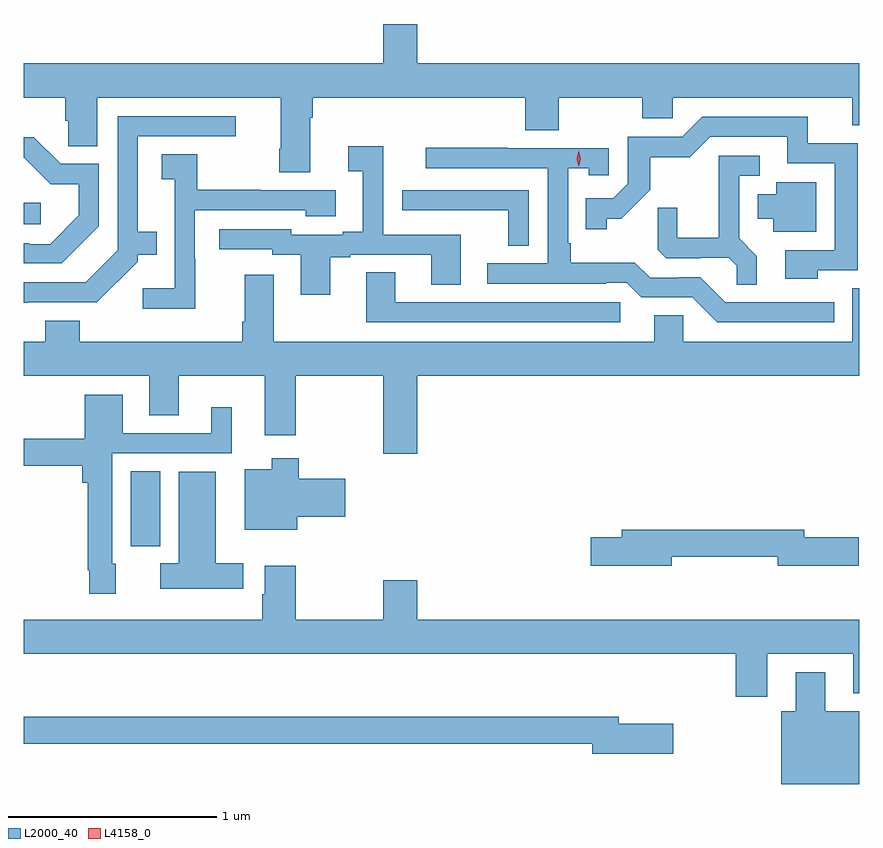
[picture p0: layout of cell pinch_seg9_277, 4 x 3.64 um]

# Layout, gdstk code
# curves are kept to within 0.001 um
import gdstk
lib = gdstk.Library(unit=1e-6, precision=1e-09)
def R(c, l, rs):  # rectangles x0, y0, x1, y1
    for r in rs: c.add(gdstk.rectangle(r[:2], r[2:], *l))
def P(c, l, *ps):  # polygons
    for p in ps: c.add(gdstk.Polygon(p, *l))
L2000_40 = (2000, 40)
L4158_0 = (4158, 0)

pinch_seg9_277 = lib.new_cell('pinch_seg9_277')
R(pinch_seg9_277, L2000_40, [(391.571,1187.611,391.714,1187.972), (391.06,1189.155,391.141,1189.258)])
P(pinch_seg9_277, L2000_40, [(392.431,1189.664),(392.444,1189.664),(392.444,1189.76),(393.461,1189.76),(393.461,1189.603),(393.621,1189.603),(393.621,1189.76),(394.021,1189.76),(394.021,1189.662),(394.167,1189.662),(394.167,1189.76),(395.027,1189.76),(395.027,1189.627),(395.06,1189.627),(395.06,1189.924),(392.944,1189.924),(392.944,1190.113),(392.78,1190.113),(392.78,1189.924),(391.06,1189.924),(391.06,1189.76),(391.259,1189.76),(391.259,1189.65),(391.273,1189.65),(391.273,1189.528),(391.411,1189.528),(391.411,1189.76),(392.291,1189.76),(392.291,1189.516),(392.284,1189.516),(392.284,1189.404),(392.431,1189.404)],
  [(391.079,1188.78),(391.41,1188.78),(391.605,1188.975),(391.605,1189.007),(391.697,1189.007),(391.697,1189.117),(391.606,1189.117),(391.606,1189.575),(392.074,1189.575),(392.074,1189.671),(391.509,1189.671),(391.509,1189.029),(391.356,1188.876),(391.06,1188.876),(391.06,1188.779)],
  [(394.863,1188.933),(395.053,1188.933),(395.053,1189.542),(394.814,1189.542),(394.814,1189.668),(394.308,1189.668),(394.212,1189.572),(393.951,1189.572),(393.951,1189.347),(393.882,1189.278),(393.751,1189.278),(393.751,1189.131),(393.852,1189.131),(393.852,1189.181),(393.922,1189.181),(394.06,1189.318),(394.06,1189.474),(394.249,1189.474),(394.347,1189.572),(394.715,1189.572),(394.715,1189.446),(394.944,1189.446),(394.944,1189.029),(394.707,1189.029),(394.707,1188.893),(394.863,1188.893)],
  [(391.419,1189.145),(391.419,1189.443),(391.236,1189.443),(391.108,1189.571),(391.06,1189.571),(391.06,1189.473),(391.062,1189.473),(391.189,1189.346),(391.322,1189.346),(391.322,1189.196),(391.185,1189.059),(391.085,1189.059),(391.085,1189.062),(391.06,1189.062),(391.06,1188.966),(391.24,1188.966)],
  [(392.527,1188.996),(392.623,1188.996),(392.623,1189.008),(393.011,1189.008),(393.011,1188.865),(393.151,1188.865),(393.151,1189.104),(392.781,1189.104),(392.781,1189.528),(392.613,1189.528),(392.613,1189.408),(392.684,1189.408),(392.684,1189.117),(392.588,1189.117),(392.588,1189.104),(392.34,1189.104),(392.34,1189.131),(391.995,1189.131),(391.995,1189.035),(392.25,1189.035),(392.25,1189.008),(392.387,1189.008),(392.387,1188.816),(392.527,1188.816)],
  [(394.942,1188.78),(394.419,1188.78),(394.299,1188.9),(394.198,1188.9),(394.198,1188.897),(394.059,1188.897),(393.986,1188.97),(393.679,1188.97),(393.679,1189.063),(393.666,1189.063),(393.666,1189.421),(393.765,1189.421),(393.765,1189.389),(393.861,1189.389),(393.861,1189.518),(393.377,1189.518),(393.377,1189.521),(392.985,1189.521),(392.985,1189.422),(393.57,1189.422),(393.57,1188.966),(393.279,1188.966),(393.279,1188.87),(393.848,1188.87),(393.848,1188.873),(393.948,1188.873),(394.017,1188.804),(394.26,1188.804),(394.38,1188.684),(394.942,1188.684)],
  [(391.881,1188.989),(391.878,1188.989),(391.878,1189.221),(392.409,1189.221),(392.409,1189.193),(392.554,1189.193),(392.554,1189.317),(392.195,1189.317),(392.195,1189.32),(391.891,1189.32),(391.891,1189.49),(391.719,1189.49),(391.719,1189.369),(391.782,1189.369),(391.782,1188.847),(391.629,1188.847),(391.629,1188.749),(391.881,1188.749)],
  [(394.571,1189.001),(394.485,1189.087),(394.485,1189.386),(394.585,1189.386),(394.585,1189.482),(394.388,1189.482),(394.388,1189.09),(394.19,1189.09),(394.19,1189.233),(394.096,1189.233),(394.096,1189.031),(394.137,1188.99),(394.302,1188.99),(394.302,1188.993),(394.436,1188.993),(394.473,1188.956),(394.473,1188.865),(394.571,1188.865)],
  [(394.855,1189.354),(394.664,1189.354),(394.664,1189.297),(394.574,1189.297),(394.574,1189.181),(394.649,1189.181),(394.649,1189.118),(394.855,1189.118)],
  [(393.477,1189.317),(392.871,1189.317),(392.871,1189.222),(392.983,1189.222),(392.983,1189.221),(393.379,1189.221),(393.379,1189.051),(393.477,1189.051)],
  [(393.916,1188.78),(392.839,1188.78),(392.839,1188.923),(392.699,1188.923),(392.699,1188.684),(393.916,1188.684)],
  [(392.944,1188.428),(395.06,1188.428),(395.06,1188.848),(395.027,1188.848),(395.027,1188.592),(394.218,1188.592),(394.218,1188.719),(394.079,1188.719),(394.079,1188.592),(392.257,1188.592),(392.257,1188.913),(392.117,1188.913),(392.117,1188.688),(392.105,1188.688),(392.105,1188.592),(391.328,1188.592),(391.328,1188.691),(391.163,1188.691),(391.163,1188.592),(391.06,1188.592),(391.06,1188.428),(391.661,1188.428),(391.661,1188.238),(391.801,1188.238),(391.801,1188.428),(392.213,1188.428),(392.213,1188.144),(392.361,1188.144),(392.361,1188.428),(392.78,1188.428),(392.78,1188.054),(392.944,1188.054)],
  [(391.501,1187.529),(391.482,1187.529),(391.482,1188.057),(392.056,1188.057),(392.056,1188.277),(391.958,1188.277),(391.958,1188.153),(391.534,1188.153),(391.534,1188.337),(391.352,1188.337),(391.352,1188.127),(391.06,1188.127),(391.06,1187.998),(391.34,1187.998),(391.34,1187.915),(391.366,1187.915),(391.366,1187.497),(391.374,1187.497),(391.374,1187.385),(391.501,1187.385)],
  [(392.368,1187.753),(392.599,1187.753),(392.599,1187.936),(392.376,1187.936),(392.376,1188.034),(392.246,1188.034),(392.246,1187.98),(392.117,1187.98),(392.117,1187.69),(392.368,1187.69)],
  [(392.11,1187.53),(391.978,1187.53),(391.978,1187.968),(391.802,1187.968),(391.802,1187.53),(391.714,1187.53),(391.714,1187.408),(392.11,1187.408)],
  [(394.162,1187.562),(394.67,1187.562),(394.67,1187.519),(395.059,1187.519),(395.059,1187.654),(394.798,1187.654),(394.798,1187.69),(393.923,1187.69),(393.923,1187.654),(393.774,1187.654),(393.774,1187.519),(394.162,1187.519)],
  [(394.621,1187.096),(395.033,1187.096),(395.033,1186.907),(395.06,1186.907),(395.06,1187.26),(392.944,1187.26),(392.944,1187.449),(392.78,1187.449),(392.78,1187.26),(392.361,1187.26),(392.361,1187.518),(392.213,1187.518),(392.213,1187.381),(392.201,1187.381),(392.201,1187.26),(391.06,1187.26),(391.06,1187.096),(394.469,1187.096),(394.469,1186.89),(394.621,1186.89)],
  [(395.06,1186.822),(394.897,1186.822),(394.897,1187.008),(394.757,1187.008),(394.757,1186.822),(394.688,1186.822),(394.688,1186.473),(395.06,1186.473)],
  [(394.171,1186.761),(393.91,1186.761),(393.91,1186.795),(391.06,1186.795),(391.06,1186.666),(393.782,1186.666),(393.782,1186.619),(394.171,1186.619)])
P(pinch_seg9_277, L4158_0, [(393.718,1189.431),(393.718,1189.431),(393.708,1189.467),(393.718,1189.503),(393.718,1189.503),(393.718,1189.503),(393.728,1189.467),(393.718,1189.431)])

lib.write_gds('pinch_seg9_277.gds')
